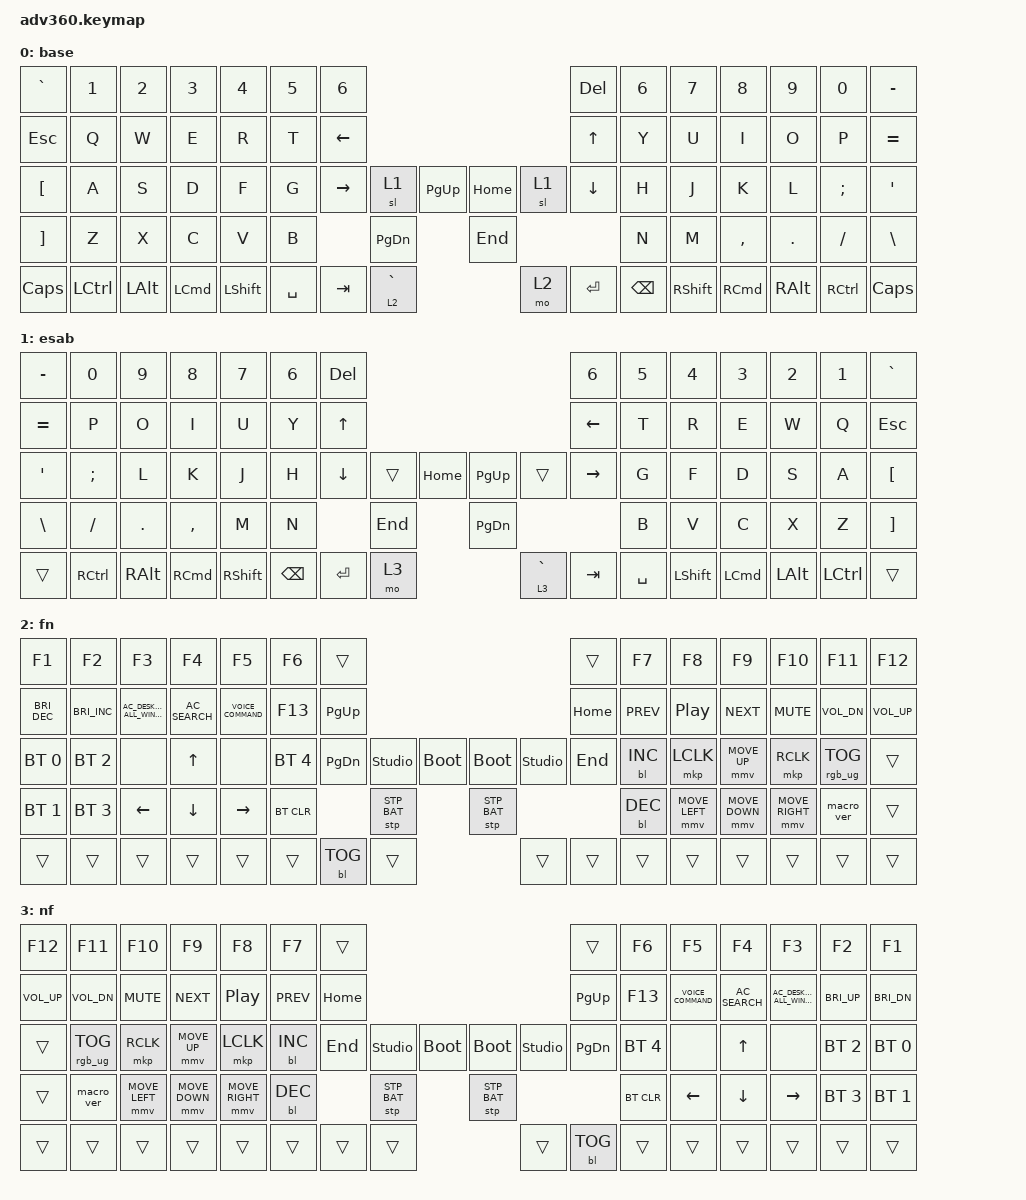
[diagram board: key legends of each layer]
#include <behaviors.dtsi>
#include <dt-bindings/zmk/keys.h>
#include <dt-bindings/zmk/bt.h>
#include <dt-bindings/zmk/rgb.h>
#include <dt-bindings/zmk/stp.h>
#include <dt-bindings/zmk/backlight.h>
#include <dt-bindings/zmk/pointing.h>

/ {
    behaviors {
        #include "macros.dtsi"
      #include "version.dtsi"

        hm: homerow_mods {
            compatible = "zmk,behavior-hold-tap";
            label = "HOMEROW_MODS";
            #binding-cells = <2>;
            tapping-term-ms = <200>;
            quick_tap_ms = <175>;
            flavor = "tap-preferred";
            bindings = <&kp>, <&kp>;
        };
        mlr: mirror_layer_right {
            compatible = "zmk,behavior-hold-tap";
            label = "MIRROR_LAYER_RIGHT";
            #binding-cells = <2>;
            flavor = "tap-preferred";
            tapping-term-ms = <200>;
            quick-tap-ms = <175>;
            bindings = <&mo>, <&kp>;
            hold-trigger-key-positions = <7 8 9 10 11 12 13 21 22 23 24 25 26 27 37 38 39 40 41 42 43 44 45 53 54 55 56 57 58 59 68 69 70 71 72 73 74 75>;
        };
        mll: mirror_layer_left {
            compatible = "zmk,behavior-hold-tap";
            label = "MIRROR_LAYER_LEFT";
            #binding-cells = <2>;
            flavor = "tap-preferred";
            tapping-term-ms = <200>;
            quick-tap-ms = <175>;
            bindings = <&mo>, <&kp>;
            hold-trigger-key-positions = <0 1 2 3 4 5 6 14 15 16 17 18 19 20 28 29 30 31 32 33 34 35 36 46 47 48 49 50 51 52 60 61 62 63 64 65 66 67>;
        };
    };

    keymap {
        compatible = "zmk,keymap";

        default_layer {
            display-name = "base";
            bindings = <
&kp GRAVE          &kp N1     &kp N2    &kp N3    &kp N4     &kp N5  &kp N6                                                          &kp DELETE     &kp N6  &kp N7           &kp N8             &kp N9         &kp N0             &kp MINUS
&kp ESCAPE         &kp Q      &kp W     &kp E     &kp R      &kp T   &kp LEFT                                                        &kp UP         &kp Y   &kp U            &kp I              &kp O          &kp P              &kp EQUAL
&kp LEFT_BRACKET   &kp A      &kp S     &kp D     &kp F      &kp G   &kp RIGHT  &sl 1      &kp PAGE_UP   &kp HOME     &sl 1          &kp DOWN       &kp H   &kp J            &kp K              &kp L          &kp SEMI           &kp SQT
&kp RIGHT_BRACKET  &kp Z      &kp X     &kp C     &kp V      &kp B              &kp PAGE_DOWN            &kp END                                    &kp N   &kp M            &kp COMMA          &kp DOT        &kp FSLH           &kp BACKSLASH
&kp CAPSLOCK       &kp LCTRL  &kp LALT  &kp LCMD  &kp LSHFT          &kp SPACE  &kp TAB    &mll 2 GRAVE  &mo 2        &kp ENTER      &kp BACKSPACE        &kp RIGHT_SHIFT  &kp RIGHT_COMMAND  &kp RIGHT_ALT  &kp RIGHT_CONTROL  &kp CAPSLOCK
            >;
        };
        layer_esab {
            display-name = "esab";
            bindings = <
&kp MINUS         &kp N0             &kp N9         &kp N8             &kp N7           &kp N6  &kp DELETE                                                      &kp N6       &kp N5  &kp N4          &kp N3            &kp N2        &kp N1            &kp GRAVE
&kp EQUAL         &kp P              &kp O          &kp I              &kp U            &kp Y   &kp UP                                                          &kp LEFT     &kp T   &kp R           &kp E             &kp W         &kp Q             &kp ESCAPE
&kp SINGLE_QUOTE  &kp SEMICOLON      &kp L          &kp K              &kp J            &kp H   &kp DOWN       &trans     &kp HOME      &kp PAGE_UP  &trans      &kp RIGHT    &kp G   &kp F           &kp D             &kp S         &kp A             &kp LEFT_BRACKET
&kp BACKSLASH     &kp SLASH          &kp DOT        &kp COMMA          &kp M            &kp N                  &kp END                  &kp PAGE_DOWN                         &kp B   &kp V           &kp C             &kp X         &kp Z             &kp RIGHT_BRACKET
&trans            &kp RIGHT_CONTROL  &kp RIGHT_ALT  &kp RIGHT_COMMAND  &kp RIGHT_SHIFT          &kp BACKSPACE  &kp ENTER  &mo 3         &mlr 3 GRAVE &kp TAB     &kp SPACE          &kp LEFT_SHIFT  &kp LEFT_COMMAND  &kp LEFT_ALT  &kp LEFT_CONTROL  &trans
            >;
        };
        layer_fn {
            display-name = "fn";
            bindings = <
&kp F1                &kp F2                &kp F3                             &kp F4           &kp F5               &kp F6        &trans                                                                         &trans    &kp F7      &kp F8            &kp F9          &kp F10          &kp F11          &kp F12
&kp C_BRIGHTNESS_DEC  &kp C_BRIGHTNESS_INC  &kp C_AC_DESKTOP_SHOW_ALL_WINDOWS  &kp C_AC_SEARCH  &kp C_VOICE_COMMAND  &kp F13       &kp PAGE_UP                                                                    &kp HOME  &kp C_PREV  &kp C_PLAY_PAUSE  &kp C_NEXT      &kp C_MUTE       &kp C_VOL_DN     &kp C_VOL_UP
&bt BT_SEL 0          &bt BT_SEL 2          &none                              &kp UP           &none                &bt BT_SEL 4  &kp PAGE_DOWN  &studio_unlock  &bootloader       &bootloader   &studio_unlock  &kp END   &bl BL_INC  &mkp LCLK         &mmv MOVE_UP    &mkp RCLK        &rgb_ug RGB_TOG  &trans
&bt BT_SEL 1          &bt BT_SEL 3          &kp LEFT                           &kp DOWN         &kp RIGHT            &bt BT_CLR                                   &stp STP_BAT      &stp STP_BAT                            &bl BL_DEC  &mmv MOVE_LEFT    &mmv MOVE_DOWN  &mmv MOVE_RIGHT  &macro_ver       &trans
&trans                &trans                &trans                             &trans           &trans                             &trans         &bl BL_TOG      &trans            &trans        &trans          &trans                &trans            &trans          &trans           &trans           &trans
            >;
        };
        layer_nf {
            display-name = "nf";
            bindings = <
&kp F12       &kp F11          &kp F10         &kp F9          &kp F8           &kp F7      &trans                                                                    &trans     &kp F6        &kp F5               &kp F4           &kp F3                             &kp F2        &kp F1
&kp C_VOL_UP  &kp C_VOL_DN     &kp C_MUTE      &kp C_NEXT      &kp C_PP         &kp C_PREV  &kp HOME                                                                  &kp PG_UP  &kp F13       &kp C_VOICE_COMMAND  &kp C_AC_SEARCH  &kp C_AC_DESKTOP_SHOW_ALL_WINDOWS  &kp C_BRI_UP  &kp C_BRI_DN
&trans        &rgb_ug RGB_TOG  &mkp RCLK       &mmv MOVE_UP    &mkp LCLK        &bl BL_INC  &kp END   &studio_unlock  &bootloader       &bootloader   &studio_unlock  &kp PG_DN  &bt BT_SEL 4  &none                &kp UP           &none                              &bt BT_SEL 2  &bt BT_SEL 0
&trans        &macro_ver       &mmv MOVE_LEFT  &mmv MOVE_DOWN  &mmv MOVE_RIGHT  &bl BL_DEC                            &stp STP_BAT      &stp STP_BAT                             &bt BT_CLR    &kp LEFT             &kp DOWN         &kp RIGHT                          &bt BT_SEL 3  &bt BT_SEL 1
&trans        &trans           &trans          &trans          &trans                       &trans    &trans          &trans            &trans        &bl BL_TOG      &trans                   &trans               &trans           &trans                             &trans        &trans
            >;
        };
    };
};
